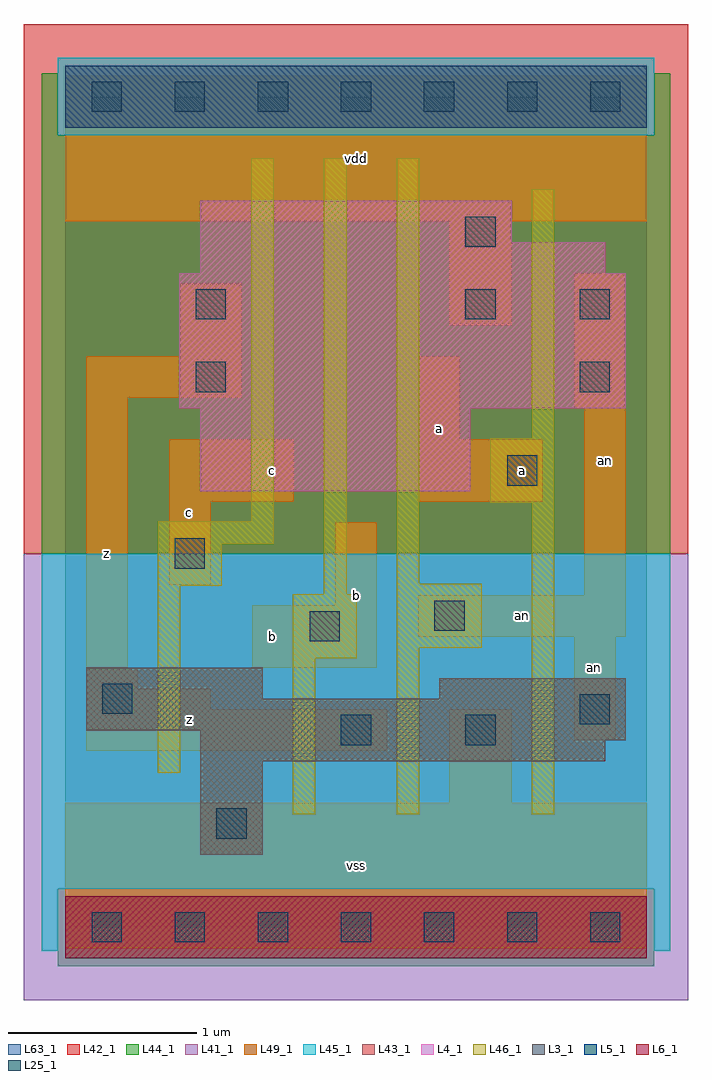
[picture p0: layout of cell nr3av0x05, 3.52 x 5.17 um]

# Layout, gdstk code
import gdstk
lib = gdstk.Library(unit=1e-6, precision=1e-09)
def R(c, l, rs):  # rectangles x0, y0, x1, y1
    for r in rs: c.add(gdstk.rectangle(r[:2], r[2:], *l))
def A(c, l, x, y, w, h, nx, ny, dx, dy):  # array of equal rectangles
    R(c, l, [(x+i*dx, y+j*dy, x+i*dx+w, y+j*dy+h) for i in range(nx) for j in range(ny)])
L3_1 = (3, 1)
L4_1 = (4, 1)
L5_1 = (5, 1)
L6_1 = (6, 1)
L25_1 = (25, 1)
L41_1 = (41, 1)
L42_1 = (42, 1)
L43_1 = (43, 1)
L44_1 = (44, 1)
L45_1 = (45, 1)
L46_1 = (46, 1)
L49_1 = (49, 1)
L63_1 = (63, 1)

nr3av0x05 = lib.new_cell('nr3av0x05')
R(nr3av0x05, L3_1, [(0.715,0.385,1.045,0.88), (0.715,0.88,2.86,0.99), (0.715,0.99,2.97,1.045), (0.11,1.045,2.97,1.21), (0.11,1.21,1.045,1.375), (1.98,1.21,2.97,1.32)])
R(nr3av0x05, L4_1, [(0.715,2.31,2.145,2.75), (0.605,2.75,2.97,3.465), (0.715,3.465,2.86,3.63), (0.715,3.63,2.365,3.85)])
R(nr3av0x05, L5_1, [(0,4.235,3.08,4.565)])
R(nr3av0x05, L6_1, [(0,-0.165,3.08,0.165)])
A(nr3av0x05, L25_1, 0.14, -0.08, 0.16, 0.16, 7, 2, 0.44, 4.4)
R(nr3av0x05, L25_1, [(0.8,0.47,0.96,0.63), (1.46,0.965,1.62,1.125), (2.12,0.965,2.28,1.125), (2.725,1.075,2.885,1.235), (0.195,1.13,0.355,1.29), (1.295,1.515,1.455,1.675), (1.955,1.57,2.115,1.73), (0.58,1.9,0.74,2.06), (2.34,2.34,2.5,2.5), (0.69,2.835,0.85,2.995), (2.725,2.835,2.885,2.995), (0.69,3.22,0.85,3.38), (2.12,3.22,2.28,3.38), (2.725,3.22,2.885,3.38), (2.12,3.605,2.28,3.765)])
R(nr3av0x05, L41_1, [(-0.22,-0.385,3.3,1.98)])
R(nr3av0x05, L42_1, [(-0.22,1.98,3.3,4.785)])
R(nr3av0x05, L43_1, [(0,-0.165,3.08,0.165), (0.715,0.385,1.045,0.88), (0.715,0.88,2.86,0.99), (0.715,0.99,2.97,1.045), (0.11,1.045,2.97,1.21), (0.11,1.21,1.045,1.375), (1.98,1.21,2.97,1.32), (0.715,2.31,2.145,2.75), (0.605,2.75,2.97,3.465), (0.715,3.465,2.86,3.63), (0.715,3.63,2.365,3.85), (0,4.235,3.08,4.565)])
R(nr3av0x05, L44_1, [(-0.04,-0.205,3.12,0.205), (-0.125,1.98,3.205,4.195), (-0.125,4.195,-0.04,4.525), (3.12,4.195,3.205,4.525)])
R(nr3av0x05, L45_1, [(-0.125,-0.125,-0.04,0.205), (3.12,-0.125,3.205,0.205), (-0.125,0.205,3.205,1.98), (-0.04,4.195,3.12,4.605)])
R(nr3av0x05, L46_1, [(1.205,0.6,1.325,1.425), (1.755,0.6,1.875,1.48), (2.47,0.6,2.59,2.25), (0.49,0.82,0.61,1.81), (1.205,1.425,1.545,1.765), (1.755,1.48,2.205,1.82), (1.37,1.765,1.49,4.075), (0.49,1.81,0.83,2.03), (1.755,1.82,1.875,4.075), (0.49,2.03,1.105,2.15), (0.985,2.15,1.105,4.075), (2.25,2.25,2.59,2.59), (2.47,2.59,2.59,3.91)])
R(nr3av0x05, L49_1, [(0,-0.11,3.08,0.66), (2.035,0.66,2.365,1.155), (0.11,0.935,1.705,1.155), (2.695,0.99,2.915,1.54), (0.11,1.155,0.77,1.265), (0.11,1.265,0.385,1.375), (0.11,1.375,0.33,2.805), (0.99,1.375,1.65,1.705), (1.87,1.54,2.97,1.76), (1.43,1.705,1.65,2.145), (2.75,1.76,2.97,2.75), (0.55,1.815,0.77,2.255), (0.55,2.255,1.21,2.585), (1.87,2.255,2.53,2.585), (1.87,2.585,2.09,3.025), (2.695,2.75,2.97,3.465), (0.11,2.805,0.935,3.025), (0.605,3.025,0.935,3.41), (2.035,3.19,2.365,3.74), (0,3.74,3.08,4.51)])
R(nr3av0x05, L63_1, [(0,0,3.08,4.4)])
nr3av0x05.add(gdstk.Label('z', (0.22,1.98), layer=49, texttype=1))
nr3av0x05.add(gdstk.Label('z', (0.66,1.1), layer=49, texttype=1))
nr3av0x05.add(gdstk.Label('b', (1.1,1.54), layer=49, texttype=1))
nr3av0x05.add(gdstk.Label('c', (1.1,2.42), layer=49, texttype=1))
nr3av0x05.add(gdstk.Label('c', (0.66,2.2), layer=49, texttype=1))
nr3av0x05.add(gdstk.Label('vss', (1.54,0.33), layer=49, texttype=1))
nr3av0x05.add(gdstk.Label('b', (1.54,1.76), layer=49, texttype=1))
nr3av0x05.add(gdstk.Label('a', (1.98,2.64), layer=49, texttype=1))
nr3av0x05.add(gdstk.Label('vdd', (1.54,4.07), layer=49, texttype=1))
nr3av0x05.add(gdstk.Label('an', (2.805,1.375), layer=49, texttype=1))
nr3av0x05.add(gdstk.Label('an', (2.42,1.65), layer=49, texttype=1))
nr3av0x05.add(gdstk.Label('a', (2.42,2.42), layer=49, texttype=1))
nr3av0x05.add(gdstk.Label('an', (2.86,2.475), layer=49, texttype=1))

lib.write_gds('nr3av0x05.gds')
